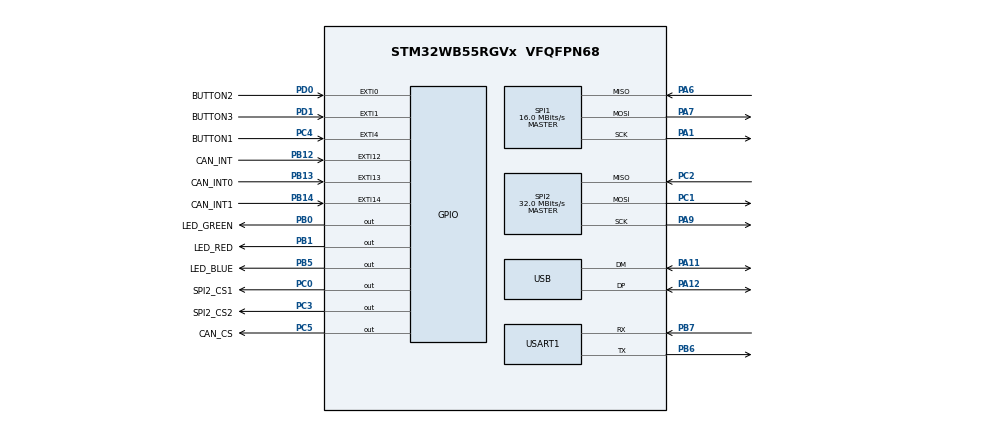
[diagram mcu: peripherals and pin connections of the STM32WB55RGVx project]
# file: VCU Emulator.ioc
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Mcu.Family=STM32WB
Mcu.Name=STM32WB55RGVx
Mcu.Package=VFQFPN68
NVIC.EXTI15_10_IRQn=true\:0\:0\:false\:false\:true\:true\:true\:true
NVIC.PriorityGroup=NVIC_PRIORITYGROUP_4
NVIC.TIM1_UP_TIM16_IRQn=true\:0\:0\:false\:false\:true\:true\:true\:true
OSC_IN.Mode=HSE-External-Oscillator
OSC_IN.Signal=RCC_OSC_IN
OSC_OUT.Mode=HSE-External-Oscillator
OSC_OUT.Signal=RCC_OSC_OUT
PA1.Mode=Full_Duplex_Master
PA1.Signal=SPI1_SCK
PA11.Mode=Device
PA11.Signal=USB_DM
PA12.Mode=Device
PA12.Signal=USB_DP
PA13.Mode=JTAG_4_pins
PA13.Signal=SYS_JTMS-SWDIO
PA14.Mode=JTAG_4_pins
PA14.Signal=SYS_JTCK-SWCLK
PA15.Mode=JTAG_4_pins
PA15.Signal=SYS_JTDI
PA6.Mode=Full_Duplex_Master
PA6.Signal=SPI1_MISO
PA7.Mode=Full_Duplex_Master
PA7.Signal=SPI1_MOSI
PA9.Mode=Full_Duplex_Master
PA9.Signal=SPI2_SCK
PB0.GPIO_Label=LED_GREEN
PB0.Signal=GPIO_Output
PB1.GPIO_Label=LED_RED
PB1.Signal=GPIO_Output
PB12.GPIO_Label=CAN_INT
PB12.GPIO_ModeDefaultEXTI=GPIO_MODE_IT_FALLING
PB12.GPIO_PuPd=GPIO_PULLUP
PB12.Signal=GPXTI12
PB13.GPIO_Label=CAN_INT0
PB13.GPIO_ModeDefaultEXTI=GPIO_MODE_IT_FALLING
PB13.GPIO_PuPd=GPIO_PULLUP
PB13.Signal=GPXTI13
PB14.GPIO_Label=CAN_INT1
PB14.GPIO_ModeDefaultEXTI=GPIO_MODE_IT_FALLING
PB14.GPIO_PuPd=GPIO_PULLUP
PB14.Signal=GPXTI14
PB3.Mode=JTAG_4_pins
PB3.Signal=SYS_JTDO-SWO
PB5.GPIO_Label=LED_BLUE
PB5.Signal=GPIO_Output
PB6.Mode=Asynchronous
PB6.Signal=USART1_TX
PB7.Mode=Asynchronous
PB7.Signal=USART1_RX
PC0.GPIO_Label=SPI2_CS1
PC0.Signal=GPIO_Output
PC1.Mode=Full_Duplex_Master
PC1.Signal=SPI2_MOSI
PC14-OSC32_IN.Mode=LSE-External-Oscillator
PC14-OSC32_IN.Signal=RCC_OSC32_IN
PC15-OSC32_OUT.Mode=LSE-External-Oscillator
PC15-OSC32_OUT.Signal=RCC_OSC32_OUT
PC2.Mode=Full_Duplex_Master
PC2.Signal=SPI2_MISO
PC3.GPIO_Label=SPI2_CS2
PC3.Signal=GPIO_Output
PC4.GPIO_Label=BUTTON1
PC4.GPIO_PuPd=GPIO_PULLUP
PC4.Signal=GPXTI4
PC5.GPIO_Label=CAN_CS
PC5.Signal=GPIO_Output
PD0.GPIO_Label=BUTTON2
PD0.GPIO_PuPd=GPIO_PULLUP
PD0.Signal=GPXTI0
PD1.GPIO_Label=BUTTON3
PD1.GPIO_PuPd=GPIO_PULLUP
PD1.Signal=GPXTI1
ProjectManager.HeapSize=0x200
ProjectManager.StackSize=0x400
ProjectManager.TargetToolchain=STM32CubeIDE
RCC.ADCFreq_Value=48000000
RCC.AHB2CLKDivider=RCC_SYSCLK_DIV2
RCC.AHBFreq_Value=64000000
RCC.APB1Freq_Value=64000000
RCC.APB1TimFreq_Value=64000000
RCC.APB2Freq_Value=64000000
RCC.APB2TimFreq_Value=64000000
RCC.APB3Freq_Value=16000000
RCC.Cortex2_Div=SYSTICK_CLKSOURCE_HCLK_DIV8
RCC.CortexFreq_Value=64000000
RCC.HCLKFreq_Value=64000000
RCC.HSE_VALUE=32000000
RCC.HSI48_VALUE=48000000
RCC.HSI_VALUE=16000000
RCC.LPUART1CLockSelection=RCC_LPUART1CLKSOURCE_HSI
RCC.PLLN=32
RCC.PLLSAI1N=24
RCC.RTCClockSelection=RCC_RTCCLKSOURCE_LSE
RCC.SYSCLKFreq_VALUE=64000000
RCC.SYSCLKSource=RCC_SYSCLKSOURCE_PLLCLK
RCC.USART1CLockSelection=RCC_USART1CLKSOURCE_HSI
RCC.USBFreq_Value=48000000
RCC.VCOOutputFreq_Value=128000000
SPI1.BaudRatePrescaler=SPI_BAUDRATEPRESCALER_4
SPI1.CalculateBaudRate=16.0 MBits/s
SPI1.DataSize=SPI_DATASIZE_8BIT
SPI1.Direction=SPI_DIRECTION_2LINES
SPI1.Mode=SPI_MODE_MASTER
SPI1.NSSPMode=SPI_NSS_PULSE_DISABLE
SPI1.VirtualType=VM_MASTER
SPI2.CalculateBaudRate=32.0 MBits/s
SPI2.Direction=SPI_DIRECTION_2LINES
SPI2.Mode=SPI_MODE_MASTER
SPI2.VirtualType=VM_MASTER
TIM1.Channel-Output\ Compare1\ No\ Output=TIM_CHANNEL_1
TIM1.Period=999
TIM1.Prescaler=63999
USART1.VirtualMode-Asynchronous=VM_ASYNC
USART1.WordLength=WORDLENGTH_8B
VP_PKA_VS_PKA.Mode=PKA_Activate
VP_RTC_VS_RTC_Activate.Mode=RTC_Enabled
VP_RTC_VS_RTC_Calendar.Mode=RTC_Calendar
VP_TIM1_VS_ClockSourceINT.Mode=Internal
VP_TIM1_VS_no_output1.Mode=Output Compare1 No Output
board=custom

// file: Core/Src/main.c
/* USER CODE BEGIN Header */
/***************************************************************************************************************
  * @file           : main.c                                                           P A C K   E M U L A T O R
  * @brief          : Main program body
  **************************************************************************************************************
  *
  * Copyright (c) 2023 Modular Battery Technologies, Inc
  *
  **************************************************************************************************************/
/* USER CODE END Header */
#include "main.h"

/* USER CODE BEGIN Includes */
#include "stdio.h"
#include "string.h"
#include "canfdspi_api.h"
#include "canfdspi_defines.h"
#include "canfdspi_register.h"
#include "app.h"
#include "time.h"

/* USER CODE END Includes */

/* USER CODE BEGIN PD */

// Uncomment the #define SET_TIME line below to allow initial setting of RTC via the MX_RTC_Init function
// You will need to edit the MX_RTC_Init to set up the day, month, year, hour, minute, second.
//#define SET_TIME

/* USER CODE END PD */

PKA_HandleTypeDef hpka;

RTC_HandleTypeDef hrtc;

SPI_HandleTypeDef hspi1;
SPI_HandleTypeDef hspi2;

TIM_HandleTypeDef htim1;

UART_HandleTypeDef huart1;

PCD_HandleTypeDef hpcd_USB_FS;

/* USER CODE BEGIN PV */

char logTime[9];
char txBuffer[MAX_BUFFER];
char tempBuffer[MAX_BUFFER];

uint8_t canRxInterrupt = 0;
uint8_t canTxInterrupt = 0;
uint32_t etTimerOverflows = 0;

uint8_t decSec = 0;
uint8_t sendState = 0;
uint8_t changeState =0;
uint16_t secondCounter=0;
uint8_t debugLevel = DEBUG_LEVEL;

/* USER CODE END PV */

void SystemClock_Config(void);
void PeriphCommonClock_Config(void);
static void MX_GPIO_Init(void);
static void MX_SPI1_Init(void);
static void MX_SPI2_Init(void);
static void MX_USB_PCD_Init(void);
static void MX_PKA_Init(void);
static void MX_RTC_Init(void);
static void MX_USART1_UART_Init(void);
static void MX_TIM1_Init(void);

/* USER CODE BEGIN 0 */

/***************************************************************************************************************
*     S E R I A L   O U T                                                              P A C K   E M U L A T O R
***************************************************************************************************************/
void serialOut(char* message){
	getTime();
  sprintf(txBuffer,"%s %s\r\n",logTime, message);

	if (HAL_UART_Transmit(&huart1, (uint8_t*)txBuffer, strlen(txBuffer), 2000) != HAL_OK){// Sending in normal mode
		Error_Handler();
	}
}

/***************************************************************************************************************
*     T I M E S T A M P                                                                P A C K   E M U L A T O R
***************************************************************************************************************/
void getTime(void){

  RTC_TimeTypeDef sTime = {0};
  RTC_DateTypeDef sDate = {0};

  HAL_RTC_GetTime(&hrtc,&sTime, RTC_FORMAT_BCD);
  HAL_RTC_GetDate(&hrtc,&sDate, RTC_FORMAT_BCD);
  uint8_t seconds = sTime.Seconds;
  uint8_t minutes = sTime.Minutes;
  uint8_t hours = sTime.Hours;
  sprintf(logTime,"%02x:%02x:%02x",hours,minutes,seconds);
}

/***************************************************************************************************************
*     T I M E R     P E R I O D    E L A P S E D    C A L L B A C K                    P A C K   E M U L A T O R
***************************************************************************************************************/
void HAL_TIM_PeriodElapsedCallback(TIM_HandleTypeDef *htim) {

  // This callback is automatically called by the HAL on the UEV event
  if(htim->Instance == htim1.Instance){
    // last contact timer overflow
    etTimerOverflows++;
    decSec++;
    if(decSec == 10){
      decSec = 0;
      HAL_GPIO_TogglePin(LED_RED_GPIO_Port,  LED_RED_Pin); // This should happen every 1 sec = 10 overflows.
      if(activeConnection){
        secondCounter++;
        if(secondCounter == STATE_INTERVAL){ // 1 minute state changes once contact has been made
          secondCounter = 0;
          changeState = 1;
        }
      }else{
        secondCounter=0; //reset the second counter should the firstContact be set to 0
      }
    }
   if((decSec % 2) == 0) sendState =1;
  }
}

/***************************************************************************************************************
 *     G P I O     I N T E R R U P T    H A N D L E R   &   C A L L B A C K            P A C K   E M U L A T O R
***************************************************************************************************************/
void HAL_GPIO_EXTI_Callback(uint16_t GPIO_Pin) {

  // Clear Wake Up Flag (when woken from STOP
  //__HAL_PWR_CLEAR_FLAG(PWR_FLAG_WU);

  if(GPIO_Pin == CAN_INT_Pin){
    // Interrupt
  }
  else if (GPIO_Pin == CAN_INT0_Pin){
    // TX Interrupt
    canTxInterrupt = 1;
  }
  else if (GPIO_Pin == CAN_INT1_Pin){
    // RX Interrupt
    canRxInterrupt = 1;
//    vcuData.state = APP_STATE_RECEIVE;
  }
  else if(GPIO_Pin == BUTTON1_Pin){
    // Spawn a new module?
  }
  else if(GPIO_Pin == BUTTON2_Pin){
  }
  else if(GPIO_Pin == BUTTON3_Pin){
  }
}

/***************************************************************************************************************
*     w r i t e R T C                                                              P A C K   C O N T R O L L E R
***************************************************************************************************************/
void writeRTC(time_t now)
{

 RTC_TimeTypeDef sTime;
 RTC_DateTypeDef sDate;

 struct tm time_tm;
 time_tm = *(localtime(&now));

 sTime.Hours = (uint8_t)time_tm.tm_hour;
 sTime.Minutes = (uint8_t)time_tm.tm_min;
 sTime.Seconds = (uint8_t)time_tm.tm_sec;
 // Set the time in the RTC
 if (HAL_RTC_SetTime(&hrtc, &sTime, RTC_FORMAT_BIN) != HAL_OK)
 {
   if(debugLevel & DBG_ERRORS){ sprintf(tempBuffer,"ERROR - HAL_RTC_SetTime returned error"); serialOut(tempBuffer);}
 }

 if (time_tm.tm_wday == 0) { time_tm.tm_wday = 7; }     // STM32 day order is Monday to Sunday
 sDate.WeekDay  = (uint8_t)  time_tm.tm_wday;
 sDate.Month    = (uint8_t)  time_tm.tm_mon+1;               // STM32 month starts at 1
 sDate.Date     = (uint8_t)  time_tm.tm_mday;
 sDate.Year     = (uint16_t)(time_tm.tm_year + 1900-2000);  // time.h is years since 1900, STM32 is years since 2000

//Set the Date in the RTC
 if (HAL_RTC_SetDate(&hrtc, &sDate, RTC_FORMAT_BIN) != HAL_OK)
 {
   if(debugLevel & DBG_ERRORS){ sprintf(tempBuffer,"ERROR - HAL_RTC_SetDate returned error"); serialOut(tempBuffer);}
 }

 HAL_RTCEx_BKUPWrite(&hrtc,RTC_BKP_DR0,0x32F2);       // lock it in with the backup registers

}

/***************************************************************************************************************
*     r e a d R T C                                                                P A C K   C O N T R O L L E R
***************************************************************************************************************/
time_t readRTC(void)
{

  RTC_DateTypeDef rtcDate;
  RTC_TimeTypeDef rtcTime;
  time_t currentTime = {0};
  struct tm tim = {0};

  HAL_RTC_GetTime(&hrtc, &rtcTime, RTC_FORMAT_BIN);
  HAL_RTC_GetDate(&hrtc, &rtcDate, RTC_FORMAT_BIN);
  uint8_t hh  = rtcTime.Hours;
  uint8_t mm  = rtcTime.Minutes;
  uint8_t ss  = rtcTime.Seconds;
  uint8_t d   = rtcDate.Date;
  uint8_t m   = rtcDate.Month;
  uint16_t y  = rtcDate.Year;
  uint16_t yr = (uint16_t)(y + 2000-1900);  // time.h is years since 1900, STM32 is years since 2000

  tim.tm_year = yr;
  tim.tm_mon  = m - 1;       // adjust the month numbering (STM32 starts at one, time.h starts at 0)
  tim.tm_mday = d;
  tim.tm_hour = hh;
  tim.tm_min  = mm;
  tim.tm_sec  = ss;
  currentTime = mktime(&tim);

  return currentTime;

  /*
  struct tm printTm = {0};
  printTm = *(localtime(&currentTime));
  char buffer[80];
  strftime(buffer,80,'RTC %m/%d/%y %H:%M:%S', &printTm);
  sprintf('%s  ', buffer);
*/
}

/***************************************************************************************************************
*     t e s t T i m e                                                              P A C K   C O N T R O L L E R
***************************************************************************************************************/
time_t testTime(void)
{
  // test function to check that the 2038 bug does not exist in the time library (years > 2038 results in overflow if bug exists)

  struct timeval time;
  struct tm t_decomp;
  time_t seconds = {0};
  uint8_t sizeBytes = 0;

  time.tv_sec = -1;

  t_decomp.tm_year  = 139; //2039
  t_decomp.tm_mon   = 0;
  t_decomp.tm_mday  = 1;
  t_decomp.tm_hour  = 8;
  t_decomp.tm_min   = 37;
  t_decomp.tm_sec   = 53;
  t_decomp.tm_isdst = -1;

  time.tv_sec = mktime(&t_decomp);
  time.tv_usec = 0;

  sizeBytes = sizeof(time.tv_sec); // check sizeBytes = 8 (64 bit)
  sizeBytes = sizeBytes;           // added to get rid of warning for variables set but not used!
  seconds   = time.tv_sec;         // Check that seconds is positive for year 2039 (2177483873)
  return seconds;

  // If seconds returned by mktime() is negative then the 2038 bug is an issue - the time is decoded into 1902-11-26 02:09:37,000 (instead of 2039-01-01)
  // TESTED and all good!
}

/***************************************************************************************************************
*     M A I N                                                                          P A C K   E M U L A T O R
***************************************************************************************************************/
/* USER CODE END 0 */

int main(void)
{

  /* MCU Configuration--------------------------------------------------------*/

  /* Reset of all peripherals, Initializes the Flash interface and the Systick. */
  HAL_Init();

  /* Configure the system clock */
  SystemClock_Config();

/* Configure the peripherals common clocks */
  PeriphCommonClock_Config();

  /* Initialize all configured peripherals */
  MX_GPIO_Init();
  MX_SPI1_Init();
  MX_SPI2_Init();
  MX_USB_PCD_Init();
  MX_PKA_Init();
  MX_RTC_Init();
  MX_USART1_UART_Init();
  MX_TIM1_Init();
  /* USER CODE BEGIN 2 */

  //HAL_GPIO_WritePin(LED_GREEN_GPIO_Port,  LED_GREEN_Pin , GPIO_PIN_SET);    // on

  DRV_CANFDSPI_Reset(DRV_CANFDSPI_INDEX_0);
  VCU_Initialize();

  HAL_TIM_Base_Start_IT(&htim1);

  /* USER CODE END 2 */

  /* Infinite loop */
  while (1)
  {

    /* USER CODE BEGIN 3 */
    VCU_Tasks();
  }
  /* USER CODE END 3 */
}

void SystemClock_Config(void)
{
  RCC_OscInitTypeDef RCC_OscInitStruct = {0};
  RCC_ClkInitTypeDef RCC_ClkInitStruct = {0};

  /** Configure LSE Drive Capability
  */
  HAL_PWR_EnableBkUpAccess();
  __HAL_RCC_LSEDRIVE_CONFIG(RCC_LSEDRIVE_MEDIUMHIGH);

  /** Configure the main internal regulator output voltage
  */
  __HAL_PWR_VOLTAGESCALING_CONFIG(PWR_REGULATOR_VOLTAGE_SCALE1);

  /** Initializes the RCC Oscillators according to the specified parameters
  * in the RCC_OscInitTypeDef structure.
  */
  RCC_OscInitStruct.OscillatorType = RCC_OSCILLATORTYPE_HSI|RCC_OSCILLATORTYPE_HSE
                              |RCC_OSCILLATORTYPE_LSE|RCC_OSCILLATORTYPE_MSI;
  RCC_OscInitStruct.HSEState = RCC_HSE_ON;
  RCC_OscInitStruct.LSEState = RCC_LSE_ON;
  RCC_OscInitStruct.HSIState = RCC_HSI_ON;
  RCC_OscInitStruct.MSIState = RCC_MSI_ON;
  RCC_OscInitStruct.HSICalibrationValue = RCC_HSICALIBRATION_DEFAULT;
  RCC_OscInitStruct.MSICalibrationValue = RCC_MSICALIBRATION_DEFAULT;
  RCC_OscInitStruct.MSIClockRange = RCC_MSIRANGE_6;
  RCC_OscInitStruct.PLL.PLLState = RCC_PLL_ON;
  RCC_OscInitStruct.PLL.PLLSource = RCC_PLLSOURCE_MSI;
  RCC_OscInitStruct.PLL.PLLM = RCC_PLLM_DIV1;
  RCC_OscInitStruct.PLL.PLLN = 32;
  RCC_OscInitStruct.PLL.PLLP = RCC_PLLP_DIV2;
  RCC_OscInitStruct.PLL.PLLR = RCC_PLLR_DIV2;
  RCC_OscInitStruct.PLL.PLLQ = RCC_PLLQ_DIV2;
  if (HAL_RCC_OscConfig(&RCC_OscInitStruct) != HAL_OK)
  {
    Error_Handler();
  }

  /** Configure the SYSCLKSource, HCLK, PCLK1 and PCLK2 clocks dividers
  */
  RCC_ClkInitStruct.ClockType = RCC_CLOCKTYPE_HCLK4|RCC_CLOCKTYPE_HCLK2
                              |RCC_CLOCKTYPE_HCLK|RCC_CLOCKTYPE_SYSCLK
                              |RCC_CLOCKTYPE_PCLK1|RCC_CLOCKTYPE_PCLK2;
  RCC_ClkInitStruct.SYSCLKSource = RCC_SYSCLKSOURCE_PLLCLK;
  RCC_ClkInitStruct.AHBCLKDivider = RCC_SYSCLK_DIV1;
  RCC_ClkInitStruct.APB1CLKDivider = RCC_HCLK_DIV1;
  RCC_ClkInitStruct.APB2CLKDivider = RCC_HCLK_DIV1;
  RCC_ClkInitStruct.AHBCLK2Divider = RCC_SYSCLK_DIV2;
  RCC_ClkInitStruct.AHBCLK4Divider = RCC_SYSCLK_DIV1;

  if (HAL_RCC_ClockConfig(&RCC_ClkInitStruct, FLASH_LATENCY_3) != HAL_OK)
  {
    Error_Handler();
  }

  /** Enable MSI Auto calibration
  */
  HAL_RCCEx_EnableMSIPLLMode();
}

void PeriphCommonClock_Config(void)
{
  RCC_PeriphCLKInitTypeDef PeriphClkInitStruct = {0};

  /** Initializes the peripherals clock
  */
  PeriphClkInitStruct.PeriphClockSelection = RCC_PERIPHCLK_SMPS;
  PeriphClkInitStruct.SmpsClockSelection = RCC_SMPSCLKSOURCE_HSI;
  PeriphClkInitStruct.SmpsDivSelection = RCC_SMPSCLKDIV_RANGE1;

  if (HAL_RCCEx_PeriphCLKConfig(&PeriphClkInitStruct) != HAL_OK)
  {
    Error_Handler();
  }
}

static void MX_PKA_Init(void)
{

  hpka.Instance = PKA;
  if (HAL_PKA_Init(&hpka) != HAL_OK)
  {
    Error_Handler();
  }

}

static void MX_RTC_Init(void)
{

  /** Initialize RTC Only
  */
  hrtc.Instance = RTC;
  hrtc.Init.HourFormat = RTC_HOURFORMAT_24;
  hrtc.Init.AsynchPrediv = 127;
  hrtc.Init.SynchPrediv = 255;
  hrtc.Init.OutPut = RTC_OUTPUT_DISABLE;
  hrtc.Init.OutPutPolarity = RTC_OUTPUT_POLARITY_HIGH;
  hrtc.Init.OutPutType = RTC_OUTPUT_TYPE_OPENDRAIN;
  hrtc.Init.OutPutRemap = RTC_OUTPUT_REMAP_NONE;
  if (HAL_RTC_Init(&hrtc) != HAL_OK)
  {
    Error_Handler();
  }

  //Initialize RTC and set the Time and Date
#ifdef SET_TIME

  RTC_TimeTypeDef sTime = {0};
  RTC_DateTypeDef sDate = {0};

  sTime.Hours = 0x10;
  sTime.Minutes = 0x33;
  sTime.Seconds = 0x0;
  sTime.SubSeconds = 0x0;
  sTime.DayLightSaving = RTC_DAYLIGHTSAVING_NONE;
  sTime.StoreOperation = RTC_STOREOPERATION_RESET;
  if (HAL_RTC_SetTime(&hrtc, &sTime, RTC_FORMAT_BCD) != HAL_OK)
  {
    Error_Handler();
  }
  sDate.WeekDay = RTC_WEEKDAY_THURSDAY;
  sDate.Month = RTC_MONTH_JANUARY;
  sDate.Date = 0x18;
  sDate.Year = 0x24;

  if (HAL_RTC_SetDate(&hrtc, &sDate, RTC_FORMAT_BCD) != HAL_OK)
  {
    Error_Handler();
  }
#endif
}

static void MX_SPI1_Init(void)
{

  /* SPI1 parameter configuration*/
  hspi1.Instance = SPI1;
  hspi1.Init.Mode = SPI_MODE_MASTER;
  hspi1.Init.Direction = SPI_DIRECTION_2LINES;
  hspi1.Init.DataSize = SPI_DATASIZE_8BIT;
  hspi1.Init.CLKPolarity = SPI_POLARITY_LOW;
  hspi1.Init.CLKPhase = SPI_PHASE_1EDGE;
  hspi1.Init.NSS = SPI_NSS_SOFT;
  hspi1.Init.BaudRatePrescaler = SPI_BAUDRATEPRESCALER_4;
  hspi1.Init.FirstBit = SPI_FIRSTBIT_MSB;
  hspi1.Init.TIMode = SPI_TIMODE_DISABLE;
  hspi1.Init.CRCCalculation = SPI_CRCCALCULATION_DISABLE;
  hspi1.Init.CRCPolynomial = 7;
  hspi1.Init.CRCLength = SPI_CRC_LENGTH_DATASIZE;
  hspi1.Init.NSSPMode = SPI_NSS_PULSE_DISABLE;
  if (HAL_SPI_Init(&hspi1) != HAL_OK)
  {
    Error_Handler();
  }

}

static void MX_SPI2_Init(void)
{

  /* SPI2 parameter configuration*/
  hspi2.Instance = SPI2;
  hspi2.Init.Mode = SPI_MODE_MASTER;
  hspi2.Init.Direction = SPI_DIRECTION_2LINES;
  hspi2.Init.DataSize = SPI_DATASIZE_4BIT;
  hspi2.Init.CLKPolarity = SPI_POLARITY_LOW;
  hspi2.Init.CLKPhase = SPI_PHASE_1EDGE;
  hspi2.Init.NSS = SPI_NSS_SOFT;
  hspi2.Init.BaudRatePrescaler = SPI_BAUDRATEPRESCALER_2;
  hspi2.Init.FirstBit = SPI_FIRSTBIT_MSB;
  hspi2.Init.TIMode = SPI_TIMODE_DISABLE;
  hspi2.Init.CRCCalculation = SPI_CRCCALCULATION_DISABLE;
  hspi2.Init.CRCPolynomial = 7;
  hspi2.Init.CRCLength = SPI_CRC_LENGTH_DATASIZE;
  hspi2.Init.NSSPMode = SPI_NSS_PULSE_ENABLE;
  if (HAL_SPI_Init(&hspi2) != HAL_OK)
  {
    Error_Handler();
  }

}

static void MX_TIM1_Init(void)
{

  TIM_ClockConfigTypeDef sClockSourceConfig = {0};
  TIM_MasterConfigTypeDef sMasterConfig = {0};
  TIM_OC_InitTypeDef sConfigOC = {0};
  TIM_BreakDeadTimeConfigTypeDef sBreakDeadTimeConfig = {0};

  htim1.Instance = TIM1;
  htim1.Init.Prescaler = 63999;
  htim1.Init.CounterMode = TIM_COUNTERMODE_UP;
  htim1.Init.Period = 99;
  htim1.Init.ClockDivision = TIM_CLOCKDIVISION_DIV1;
  htim1.Init.RepetitionCounter = 0;
  htim1.Init.AutoReloadPreload = TIM_AUTORELOAD_PRELOAD_DISABLE;
  if (HAL_TIM_Base_Init(&htim1) != HAL_OK)
  {
    Error_Handler();
  }
  sClockSourceConfig.ClockSource = TIM_CLOCKSOURCE_INTERNAL;
  if (HAL_TIM_ConfigClockSource(&htim1, &sClockSourceConfig) != HAL_OK)
  {
    Error_Handler();
  }
  if (HAL_TIM_OC_Init(&htim1) != HAL_OK)
  {
    Error_Handler();
  }
  sMasterConfig.MasterOutputTrigger = TIM_TRGO_RESET;
  sMasterConfig.MasterOutputTrigger2 = TIM_TRGO2_RESET;
  sMasterConfig.MasterSlaveMode = TIM_MASTERSLAVEMODE_DISABLE;
  if (HAL_TIMEx_MasterConfigSynchronization(&htim1, &sMasterConfig) != HAL_OK)
  {
    Error_Handler();
  }
  sConfigOC.OCMode = TIM_OCMODE_TIMING;
  sConfigOC.Pulse = 0;
  sConfigOC.OCPolarity = TIM_OCPOLARITY_HIGH;
  sConfigOC.OCNPolarity = TIM_OCNPOLARITY_HIGH;
  sConfigOC.OCFastMode = TIM_OCFAST_DISABLE;
  sConfigOC.OCIdleState = TIM_OCIDLESTATE_RESET;
  sConfigOC.OCNIdleState = TIM_OCNIDLESTATE_RESET;
  if (HAL_TIM_OC_ConfigChannel(&htim1, &sConfigOC, TIM_CHANNEL_1) != HAL_OK)
  {
    Error_Handler();
  }
  sBreakDeadTimeConfig.OffStateRunMode = TIM_OSSR_DISABLE;
  sBreakDeadTimeConfig.OffStateIDLEMode = TIM_OSSI_DISABLE;
  sBreakDeadTimeConfig.LockLevel = TIM_LOCKLEVEL_OFF;
  sBreakDeadTimeConfig.DeadTime = 0;
  sBreakDeadTimeConfig.BreakState = TIM_BREAK_DISABLE;
  sBreakDeadTimeConfig.BreakPolarity = TIM_BREAKPOLARITY_HIGH;
  sBreakDeadTimeConfig.BreakFilter = 0;
  sBreakDeadTimeConfig.BreakAFMode = TIM_BREAK_AFMODE_INPUT;
  sBreakDeadTimeConfig.Break2State = TIM_BREAK2_DISABLE;
  sBreakDeadTimeConfig.Break2Polarity = TIM_BREAK2POLARITY_HIGH;
  sBreakDeadTimeConfig.Break2Filter = 0;
  sBreakDeadTimeConfig.Break2AFMode = TIM_BREAK_AFMODE_INPUT;
  sBreakDeadTimeConfig.AutomaticOutput = TIM_AUTOMATICOUTPUT_DISABLE;
  if (HAL_TIMEx_ConfigBreakDeadTime(&htim1, &sBreakDeadTimeConfig) != HAL_OK)
  {
    Error_Handler();
  }

}

static void MX_USART1_UART_Init(void)
{

  huart1.Instance = USART1;
  huart1.Init.BaudRate = 115200;
  huart1.Init.WordLength = UART_WORDLENGTH_8B;
  huart1.Init.StopBits = UART_STOPBITS_1;
  huart1.Init.Parity = UART_PARITY_NONE;
  huart1.Init.Mode = UART_MODE_TX_RX;
  huart1.Init.HwFlowCtl = UART_HWCONTROL_NONE;
  huart1.Init.OverSampling = UART_OVERSAMPLING_16;
  huart1.Init.OneBitSampling = UART_ONE_BIT_SAMPLE_DISABLE;
  huart1.Init.ClockPrescaler = UART_PRESCALER_DIV1;
  huart1.AdvancedInit.AdvFeatureInit = UART_ADVFEATURE_NO_INIT;
  if (HAL_UART_Init(&huart1) != HAL_OK)
  {
    Error_Handler();
  }
  if (HAL_UARTEx_SetTxFifoThreshold(&huart1, UART_TXFIFO_THRESHOLD_1_8) != HAL_OK)
  {
    Error_Handler();
  }
  if (HAL_UARTEx_SetRxFifoThreshold(&huart1, UART_RXFIFO_THRESHOLD_1_8) != HAL_OK)
  {
    Error_Handler();
  }
  if (HAL_UARTEx_DisableFifoMode(&huart1) != HAL_OK)
  {
    Error_Handler();
  }

}

static void MX_USB_PCD_Init(void)
{

  hpcd_USB_FS.Instance = USB;
  hpcd_USB_FS.Init.dev_endpoints = 8;
  hpcd_USB_FS.Init.speed = PCD_SPEED_FULL;
  hpcd_USB_FS.Init.phy_itface = PCD_PHY_EMBEDDED;
  hpcd_USB_FS.Init.Sof_enable = DISABLE;
  hpcd_USB_FS.Init.low_power_enable = DISABLE;
  hpcd_USB_FS.Init.lpm_enable = DISABLE;
  hpcd_USB_FS.Init.battery_charging_enable = DISABLE;
  if (HAL_PCD_Init(&hpcd_USB_FS) != HAL_OK)
  {
    Error_Handler();
  }

}

static void MX_GPIO_Init(void)
{
  GPIO_InitTypeDef GPIO_InitStruct = {0};

  /* GPIO Ports Clock Enable */
  __HAL_RCC_GPIOC_CLK_ENABLE();
  __HAL_RCC_GPIOA_CLK_ENABLE();
  __HAL_RCC_GPIOB_CLK_ENABLE();
  __HAL_RCC_GPIOD_CLK_ENABLE();

  /*Configure GPIO pin Output Level */
  HAL_GPIO_WritePin(GPIOC, SPI2_CS1_Pin|SPI2_CS2_Pin|CAN_CS_Pin, GPIO_PIN_RESET);

  /*Configure GPIO pin Output Level */
  HAL_GPIO_WritePin(GPIOB, LED_GREEN_Pin|LED_RED_Pin|LED_BLUE_Pin, GPIO_PIN_RESET);

  /*Configure GPIO pins : SPI2_CS1_Pin SPI2_CS2_Pin CAN_CS_Pin */
  GPIO_InitStruct.Pin = SPI2_CS1_Pin|SPI2_CS2_Pin|CAN_CS_Pin;
  GPIO_InitStruct.Mode = GPIO_MODE_OUTPUT_PP;
  GPIO_InitStruct.Pull = GPIO_NOPULL;
  GPIO_InitStruct.Speed = GPIO_SPEED_FREQ_LOW;
  HAL_GPIO_Init(GPIOC, &GPIO_InitStruct);

  /*Configure GPIO pin : BUTTON1_Pin */
  GPIO_InitStruct.Pin = BUTTON1_Pin;
  GPIO_InitStruct.Mode = GPIO_MODE_IT_RISING;
  GPIO_InitStruct.Pull = GPIO_PULLUP;
  HAL_GPIO_Init(BUTTON1_GPIO_Port, &GPIO_InitStruct);

  /*Configure GPIO pins : LED_GREEN_Pin LED_RED_Pin LED_BLUE_Pin */
  GPIO_InitStruct.Pin = LED_GREEN_Pin|LED_RED_Pin|LED_BLUE_Pin;
  GPIO_InitStruct.Mode = GPIO_MODE_OUTPUT_PP;
  GPIO_InitStruct.Pull = GPIO_NOPULL;
  GPIO_InitStruct.Speed = GPIO_SPEED_FREQ_LOW;
  HAL_GPIO_Init(GPIOB, &GPIO_InitStruct);

  /*Configure GPIO pins : CAN_INT_Pin CAN_INT0_Pin CAN_INT1_Pin */
  GPIO_InitStruct.Pin = CAN_INT_Pin|CAN_INT0_Pin|CAN_INT1_Pin;
  GPIO_InitStruct.Mode = GPIO_MODE_IT_FALLING;
  GPIO_InitStruct.Pull = GPIO_PULLUP;
  HAL_GPIO_Init(GPIOB, &GPIO_InitStruct);

  /*Configure GPIO pins : BUTTON2_Pin BUTTON3_Pin */
  GPIO_InitStruct.Pin = BUTTON2_Pin|BUTTON3_Pin;
  GPIO_InitStruct.Mode = GPIO_MODE_IT_RISING;
  GPIO_InitStruct.Pull = GPIO_PULLUP;
  HAL_GPIO_Init(GPIOD, &GPIO_InitStruct);

  /* EXTI interrupt init*/
  HAL_NVIC_SetPriority(EXTI15_10_IRQn, 0, 0);
  HAL_NVIC_EnableIRQ(EXTI15_10_IRQn);

}

void Error_Handler(void)
{
  __disable_irq();
  while (1)
  {
  }
}
